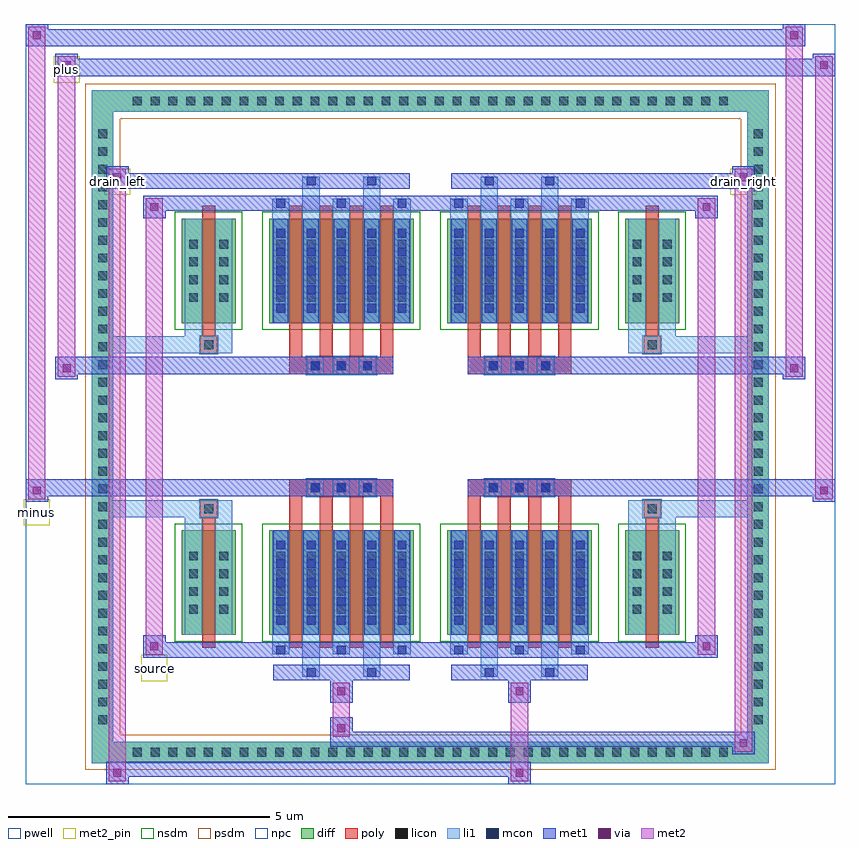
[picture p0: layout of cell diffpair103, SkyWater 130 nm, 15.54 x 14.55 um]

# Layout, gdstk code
import gdstk
lib = gdstk.Library(unit=1e-6, precision=5e-09)
def R(c, l, rs):  # rectangles x0, y0, x1, y1
    for r in rs: c.add(gdstk.rectangle(r[:2], r[2:], *l))
def A(c, l, x, y, w, h, nx, ny, dx, dy):  # array of equal rectangles
    R(c, l, [(x+i*dx, y+j*dy, x+i*dx+w, y+j*dy+h) for i in range(nx) for j in range(ny)])
def P(c, l, *ps):  # polygons
    for p in ps: c.add(gdstk.Polygon(p, *l))
pwell = (64, 44)
diff = (65, 20)
poly = (66, 20)
licon = (66, 44)
li1 = (67, 20)
mcon = (67, 44)
met1 = (68, 20)
via = (68, 44)
met2_pin = (69, 16)
met2 = (69, 20)
nsdm = (93, 44)
psdm = (94, 20)
npc = (95, 20)

diffpair103 = lib.new_cell('diffpair103')
R(diffpair103, pwell, [(-7.75,-6.84,7.75,7.71), (-5.07,-5.03,-0.01,-0.805), (0.01,-5.03,5.07,-0.805), (-5.07,0.805,-0.01,5.03), (0.01,0.805,5.07,5.03)])
A(diffpair103, diff, -5.815, -6.44, 0.41, 0.41, 34, 2, 0.34, 12.47)
A(diffpair103, diff, -6.48, -5.815, 0.41, 0.41, 1, 34, 0, 0.34)
A(diffpair103, diff, 6.07, -5.815, 0.41, 0.41, 1, 34, 0, 0.34)
R(diffpair103, diff, [(-5.815,-6.44,5.815,-6.03), (-6.48,-5.815,-6.07,5.815), (6.07,-5.815,6.48,5.815), (-4.76,-3.985,-3.73,-1.985), (-3.09,-3.985,-0.32,-1.985), (0.32,-3.985,3.09,-1.985), (3.73,-3.985,4.76,-1.985), (-4.76,1.985,-3.73,3.985), (-3.09,1.985,-0.32,3.985), (0.32,1.985,3.09,3.985), (3.73,1.985,4.76,3.985), (-5.815,6.03,5.815,6.44)])
P(diffpair103, diff, [(6.48,6.44),(-6.48,6.44),(-6.48,-6.03),(-6.07,-6.03),(-6.07,6.03),(6.07,6.03),(6.07,-6.03),(-6.07,-6.03),(-6.48,-6.03),(-6.48,-6.44),(6.48,-6.44)])
A(diffpair103, poly, -2.7, -4.235, 0.25, 2.5, 4, 2, 0.58, 5.97)
A(diffpair103, poly, 0.71, -4.235, 0.25, 2.5, 4, 2, 0.58, 5.97)
A(diffpair103, poly, -2.7, -1.735, 0.25, 0.4, 4, 2, 0.58, 3.07)
A(diffpair103, poly, 0.71, -1.735, 0.25, 0.4, 4, 2, 0.58, 3.07)
A(diffpair103, poly, -2.37, -1.335, 0.33, 0.33, 3, 2, 0.5, 2.34)
A(diffpair103, poly, 1.04, -1.335, 0.33, 0.33, 3, 2, 0.5, 2.34)
R(diffpair103, poly, [(-4.37,-4.235,-4.12,-1.735), (4.12,-4.235,4.37,-1.735), (-4.41,-1.735,-4.08,-1.405), (-4.41,-1.735,-4.08,-1.405), (4.08,-1.735,4.41,-1.405), (4.08,-1.735,4.41,-1.405), (-2.7,-1.335,-0.71,-1.005), (0.71,-1.335,2.7,-1.005), (-2.7,1.005,-0.71,1.335), (0.71,1.005,2.7,1.335), (-4.41,1.405,-4.08,1.735), (-4.41,1.405,-4.08,1.735), (4.08,1.405,4.41,1.735), (4.08,1.405,4.41,1.735), (-4.37,1.735,-4.12,4.235), (4.12,1.735,4.37,4.235)])
A(diffpair103, licon, -5.695, -6.32, 0.17, 0.17, 34, 2, 0.34, 12.47)
A(diffpair103, licon, -6.36, -5.695, 0.17, 0.17, 1, 34, 0, 0.34)
A(diffpair103, licon, 6.19, -5.695, 0.17, 0.17, 1, 34, 0, 0.34)
A(diffpair103, licon, -4.62, -3.58, 0.17, 0.17, 1, 4, 0, 0.34)
A(diffpair103, licon, -4.04, -3.58, 0.17, 0.17, 1, 4, 0, 0.34)
A(diffpair103, licon, -2.95, -3.58, 0.17, 0.17, 5, 4, 0.58, 0.34)
A(diffpair103, licon, 0.46, -3.58, 0.17, 0.17, 5, 4, 0.58, 0.34)
A(diffpair103, licon, 3.87, -3.58, 0.17, 0.17, 1, 4, 0, 0.34)
A(diffpair103, licon, 4.45, -3.58, 0.17, 0.17, 1, 4, 0, 0.34)
A(diffpair103, licon, -2.29, -1.255, 0.17, 0.17, 3, 2, 0.5, 2.34)
A(diffpair103, licon, 1.12, -1.255, 0.17, 0.17, 3, 2, 0.5, 2.34)
A(diffpair103, licon, -4.62, 2.39, 0.17, 0.17, 1, 4, 0, 0.34)
A(diffpair103, licon, -4.04, 2.39, 0.17, 0.17, 1, 4, 0, 0.34)
A(diffpair103, licon, -2.95, 2.39, 0.17, 0.17, 5, 4, 0.58, 0.34)
A(diffpair103, licon, 0.46, 2.39, 0.17, 0.17, 5, 4, 0.58, 0.34)
A(diffpair103, licon, 3.87, 2.39, 0.17, 0.17, 1, 4, 0, 0.34)
A(diffpair103, licon, 4.45, 2.39, 0.17, 0.17, 1, 4, 0, 0.34)
R(diffpair103, licon, [(-4.33,-1.655,-4.16,-1.485), (4.16,-1.655,4.33,-1.485), (-4.33,1.485,-4.16,1.655), (4.16,1.485,4.33,1.655)])
A(diffpair103, li1, -5.775, -6.4, 0.33, 0.33, 34, 2, 0.34, 12.47)
A(diffpair103, li1, -6.44, -5.775, 0.33, 0.33, 1, 34, 0, 0.34)
A(diffpair103, li1, 6.11, -5.775, 0.33, 0.33, 1, 34, 0, 0.34)
A(diffpair103, li1, -3.03, -4.36, 0.33, 0.375, 3, 2, 1.16, 8.345)
A(diffpair103, li1, -2.95, -4.36, 0.17, 0.17, 3, 2, 1.16, 8.55)
A(diffpair103, li1, 0.38, -4.36, 0.33, 0.375, 3, 2, 1.16, 8.345)
A(diffpair103, li1, 0.46, -4.36, 0.17, 0.17, 3, 2, 1.16, 8.55)
A(diffpair103, li1, -3.03, -3.985, 0.33, 2, 5, 2, 0.58, 5.97)
A(diffpair103, li1, 0.38, -3.985, 0.33, 2, 5, 2, 0.58, 5.97)
A(diffpair103, li1, -2.95, -3.79, 0.17, 0.17, 5, 5, 0.58, 0.36)
A(diffpair103, li1, -2.95, -3.79, 0.17, 1.61, 5, 2, 0.58, 5.97)
A(diffpair103, li1, 0.46, -3.79, 0.17, 0.17, 5, 5, 0.58, 0.36)
A(diffpair103, li1, 0.46, -3.79, 0.17, 1.61, 5, 2, 0.58, 5.97)
A(diffpair103, li1, -4.7, -3.66, 0.33, 0.33, 1, 4, 0, 0.34)
A(diffpair103, li1, -4.12, -3.66, 0.33, 0.33, 1, 4, 0, 0.34)
A(diffpair103, li1, -3.03, -3.66, 0.33, 0.33, 5, 4, 0.58, 0.34)
A(diffpair103, li1, 0.38, -3.66, 0.33, 0.33, 5, 4, 0.58, 0.34)
A(diffpair103, li1, 3.79, -3.66, 0.33, 0.33, 1, 4, 0, 0.34)
A(diffpair103, li1, 4.37, -3.66, 0.33, 0.33, 1, 4, 0, 0.34)
A(diffpair103, li1, -2.37, -1.335, 0.33, 0.33, 3, 2, 0.5, 2.34)
A(diffpair103, li1, 1.04, -1.335, 0.33, 0.33, 3, 2, 0.5, 2.34)
A(diffpair103, li1, -2.95, 2.18, 0.17, 0.17, 5, 5, 0.58, 0.36)
A(diffpair103, li1, 0.46, 2.18, 0.17, 0.17, 5, 5, 0.58, 0.36)
A(diffpair103, li1, -4.7, 2.31, 0.33, 0.33, 1, 4, 0, 0.34)
A(diffpair103, li1, -4.12, 2.31, 0.33, 0.33, 1, 4, 0, 0.34)
A(diffpair103, li1, -3.03, 2.31, 0.33, 0.33, 5, 4, 0.58, 0.34)
A(diffpair103, li1, 0.38, 2.31, 0.33, 0.33, 5, 4, 0.58, 0.34)
A(diffpair103, li1, 3.79, 2.31, 0.33, 0.33, 1, 4, 0, 0.34)
A(diffpair103, li1, 4.37, 2.31, 0.33, 0.33, 1, 4, 0, 0.34)
R(diffpair103, li1, [(-6.48,-6.44,-6.07,-6.03), (-6.48,-6.44,-6.07,-6.03), (-6.07,-6.44,6.07,-6.03), (6.07,-6.44,6.48,-6.03), (6.07,-6.44,6.48,-6.03), (-6.48,-6.03,-6.07,6.03), (6.07,-6.03,6.48,6.03), (-2.45,-4.79,-2.12,-3.985), (-2.37,-4.79,-2.2,-4.62), (-1.29,-4.79,-0.96,-3.985), (-1.21,-4.79,-1.04,-4.62), (0.96,-4.79,1.29,-3.985), (1.04,-4.79,1.21,-4.62), (2.12,-4.79,2.45,-3.985), (2.2,-4.79,2.37,-4.62), (-4.7,-3.985,-4.37,-1.985), (-4.12,-3.985,-3.79,-1.985), (3.79,-3.985,4.12,-1.985), (4.37,-3.985,4.7,-1.985), (-4.7,-1.985,-4.37,-1.405), (-4.12,-1.985,-3.79,-1.405), (3.79,-1.985,4.12,-1.405), (4.37,-1.985,4.7,-1.405), (-6.48,-1.735,-4.41,-1.405), (-4.7,-1.735,-4.41,-1.405), (-4.41,-1.735,-4.08,-1.405), (-4.08,-1.735,-3.79,-1.405), (3.79,-1.735,4.08,-1.405), (4.08,-1.735,4.41,-1.405), (4.08,-1.735,6.48,-1.405), (4.41,-1.735,4.7,-1.405), (-6.48,1.405,-4.41,1.735), (-4.7,1.405,-4.41,1.735), (-4.7,1.405,-4.37,1.985), (-4.41,1.405,-4.08,1.735), (-4.12,1.405,-3.79,1.985), (-4.08,1.405,-3.79,1.735), (3.79,1.405,4.08,1.735), (3.79,1.405,4.12,1.985), (4.08,1.405,4.41,1.735), (4.08,1.405,6.48,1.735), (4.37,1.405,4.7,1.985), (4.41,1.405,4.7,1.735), (-4.7,1.985,-4.37,3.985), (-4.12,1.985,-3.79,3.985), (3.79,1.985,4.12,3.985), (4.37,1.985,4.7,3.985), (-2.45,3.985,-2.12,4.79), (-1.29,3.985,-0.96,4.79), (0.96,3.985,1.29,4.79), (2.12,3.985,2.45,4.79), (-2.37,4.62,-2.2,4.79), (-1.21,4.62,-1.04,4.79), (1.04,4.62,1.21,4.79), (2.2,4.62,2.37,4.79), (-6.48,6.03,-6.07,6.44), (-6.48,6.03,-6.07,6.44), (-6.07,6.03,6.07,6.44), (6.07,6.03,6.48,6.44), (6.07,6.03,6.48,6.44)])
A(diffpair103, mcon, -2.95, -4.36, 0.17, 0.17, 3, 2, 1.16, 8.55)
A(diffpair103, mcon, 0.46, -4.36, 0.17, 0.17, 3, 2, 1.16, 8.55)
A(diffpair103, mcon, -2.95, -3.79, 0.17, 0.17, 5, 5, 0.58, 0.36)
A(diffpair103, mcon, 0.46, -3.79, 0.17, 0.17, 5, 5, 0.58, 0.36)
A(diffpair103, mcon, -2.29, -1.255, 0.17, 0.17, 3, 2, 0.5, 2.34)
A(diffpair103, mcon, 1.12, -1.255, 0.17, 0.17, 3, 2, 0.5, 2.34)
A(diffpair103, mcon, -2.95, 2.18, 0.17, 0.17, 5, 5, 0.58, 0.36)
A(diffpair103, mcon, 0.46, 2.18, 0.17, 0.17, 5, 5, 0.58, 0.36)
R(diffpair103, mcon, [(-2.37,-4.79,-2.2,-4.62), (-1.21,-4.79,-1.04,-4.62), (1.04,-4.79,1.21,-4.62), (2.2,-4.79,2.37,-4.62), (-2.37,4.62,-2.2,4.79), (-1.21,4.62,-1.04,4.79), (1.04,4.62,1.21,4.79), (2.2,4.62,2.37,4.79)])
A(diffpair103, met1, -3.01, -4.42, 0.29, 0.29, 3, 2, 1.16, 8.55)
A(diffpair103, met1, 0.4, -4.42, 0.29, 0.29, 3, 2, 1.16, 8.55)
A(diffpair103, met1, -3.01, -3.985, 0.29, 2, 5, 2, 0.58, 5.97)
A(diffpair103, met1, 0.4, -3.985, 0.29, 2, 5, 2, 0.58, 5.97)
A(diffpair103, met1, -3.01, -3.85, 0.29, 0.29, 5, 5, 0.58, 0.36)
A(diffpair103, met1, 0.4, -3.85, 0.29, 0.29, 5, 5, 0.58, 0.36)
A(diffpair103, met1, -2.35, -1.315, 0.29, 0.29, 3, 2, 0.5, 2.34)
A(diffpair103, met1, 1.06, -1.315, 0.29, 0.29, 3, 2, 0.5, 2.34)
A(diffpair103, met1, -3.01, 2.12, 0.29, 0.29, 5, 5, 0.58, 0.36)
A(diffpair103, met1, 0.4, 2.12, 0.29, 0.29, 5, 5, 0.58, 0.36)
R(diffpair103, met1, [(-6.21,-6.84,-5.78,-6.41), (1.49,-6.84,1.92,-6.41), (-6.21,-6.7,1.92,-6.41), (5.78,-6.27,6.21,-5.84), (-1.92,-6.13,6.21,-5.84), (-1.92,-5.99,-1.49,-5.56), (-1.92,-5.28,-1.49,-4.85), (1.49,-5.28,1.92,-4.85), (-3.01,-4.85,-0.4,-4.56), (-2.43,-4.85,-2.14,-4.56), (-1.27,-4.85,-0.98,-4.56), (0.4,-4.85,3.01,-4.56), (0.98,-4.85,1.27,-4.56), (2.14,-4.85,2.43,-4.56), (-5.5,-4.42,-5.07,-3.99), (-5.5,-4.42,-3.01,-4.13), (-3.01,-4.42,-0.4,-4.13), (-0.4,-4.42,0.4,-4.13), (0.4,-4.42,3.01,-4.13), (3.01,-4.42,5.5,-4.13), (5.07,-4.42,5.5,-3.99), (-7.75,-1.435,-7.32,-1.005), (7.32,-1.435,7.75,-1.005), (-7.75,-1.335,-0.71,-1.005), (-2.7,-1.335,-0.71,-1.005), (0.71,-1.335,2.7,-1.005), (0.71,-1.335,7.75,-1.005), (-7.18,0.905,-6.75,1.335), (6.75,0.905,7.18,1.335), (-7.18,1.005,-2.7,1.335), (-2.7,1.005,-0.71,1.335), (0.71,1.005,2.7,1.335), (2.7,1.005,7.18,1.335), (-5.5,3.99,-5.07,4.42), (5.07,3.99,5.5,4.42), (-5.5,4.13,-3.01,4.42), (-3.01,4.13,-0.4,4.42), (-0.4,4.13,0.4,4.42), (0.4,4.13,3.01,4.42), (3.01,4.13,5.5,4.42), (-6.21,4.56,-5.78,4.99), (-6.21,4.56,-3.01,4.85), (-3.01,4.56,-0.4,4.85), (-2.43,4.56,-2.14,4.85), (-1.27,4.56,-0.98,4.85), (0.4,4.56,3.01,4.85), (0.98,4.56,1.27,4.85), (2.14,4.56,2.43,4.85), (3.01,4.56,6.21,4.85), (5.78,4.56,6.21,4.99), (-7.18,6.71,-6.75,7.14), (-7.18,6.71,-5.07,7.04), (-5.07,6.71,5.07,7.04), (5.07,6.71,7.75,7.04), (7.32,6.71,7.75,7.14), (-7.75,7.28,-7.32,7.71), (-7.75,7.28,-5.07,7.61), (-5.07,7.28,5.07,7.61), (5.07,7.28,7.18,7.61), (6.75,7.28,7.18,7.71)])
R(diffpair103, via, [(-6.07,-6.7,-5.92,-6.55), (1.63,-6.7,1.78,-6.55), (5.92,-6.13,6.07,-5.98), (-1.78,-5.85,-1.63,-5.7), (-1.78,-5.14,-1.63,-4.99), (1.63,-5.14,1.78,-4.99), (-5.36,-4.28,-5.21,-4.13), (5.21,-4.28,5.36,-4.13), (-7.61,-1.295,-7.46,-1.145), (7.46,-1.295,7.61,-1.145), (-7.04,1.045,-6.89,1.195), (6.89,1.045,7.04,1.195), (-5.36,4.13,-5.21,4.28), (5.21,4.13,5.36,4.28), (-6.07,4.7,-5.92,4.85), (5.92,4.7,6.07,4.85), (-7.04,6.85,-6.89,7), (7.46,6.85,7.61,7), (-7.61,7.42,-7.46,7.57), (6.89,7.42,7.04,7.57)])
R(diffpair103, met2_pin, [(-5.535,-4.87,-5.035,-4.37), (-7.785,-1.885,-7.285,-1.385), (-6.245,4.44,-5.745,4.94), (5.745,4.44,6.245,4.94), (-7.215,6.59,-6.715,7.09)])
R(diffpair103, met2, [(-6.16,-6.79,-5.83,-6.46), (-6.16,-6.79,-5.83,4.94), (1.54,-6.79,1.87,-6.46), (1.54,-6.46,1.87,-5.23), (5.83,-6.22,6.16,-5.89), (5.83,-6.22,6.16,4.94), (-1.87,-5.94,-1.54,-5.61), (-1.87,-5.61,-1.54,-5.23), (-1.87,-5.23,-1.54,-4.9), (1.54,-5.23,1.87,-4.9), (-5.45,-4.37,-5.12,-4.04), (-5.45,-4.37,-5.12,4.37), (5.12,-4.37,5.45,-4.04), (5.12,-4.37,5.45,4.37), (-7.7,-1.385,-7.37,-1.055), (-7.7,-1.385,-7.37,7.66), (7.37,-1.385,7.7,-1.055), (7.37,-1.385,7.7,7.09), (-7.13,0.955,-6.8,1.285), (-7.13,0.955,-6.8,7.09), (6.8,0.955,7.13,1.285), (6.8,0.955,7.13,7.66), (-5.45,4.04,-5.12,4.37), (5.12,4.04,5.45,4.37), (-6.16,4.61,-5.83,4.94), (5.83,4.61,6.16,4.94), (-7.13,6.76,-6.8,7.09), (7.37,6.76,7.7,7.09), (-7.7,7.33,-7.37,7.66), (6.8,7.33,7.13,7.66)])
P(diffpair103, met2, [(7.7,-1.385),(7.7,-1.385),(7.7,-1.055),(7.7,-1.055)],
  [(7.7,6.76),(7.7,6.76),(7.7,7.09),(7.7,7.09)],
  [(-7.37,-1.385),(-7.37,-1.385),(-7.37,-1.055),(-7.37,-1.055)],
  [(-7.37,7.33),(-7.37,7.33),(-7.37,7.66),(-7.37,7.66)],
  [(7.13,0.955),(7.13,0.955),(7.13,1.285),(7.13,1.285)],
  [(7.13,7.33),(7.13,7.33),(7.13,7.66),(7.13,7.66)],
  [(-6.8,0.955),(-6.8,0.955),(-6.8,1.285),(-6.8,1.285)],
  [(-6.8,6.76),(-6.8,6.76),(-6.8,7.09),(-6.8,7.09)],
  [(-5.83,-6.79),(-5.83,-6.79),(-5.83,-6.46),(-5.83,-6.46)],
  [(-5.83,4.61),(-5.83,4.61),(-5.83,4.94),(-5.83,4.94)],
  [(6.16,-6.22),(6.16,-6.22),(6.16,-5.89),(6.16,-5.89)],
  [(6.16,4.61),(6.16,4.61),(6.16,4.94),(6.16,4.94)],
  [(-5.12,-4.37),(-5.12,-4.37),(-5.12,-4.04),(-5.12,-4.04)],
  [(-5.12,4.04),(-5.12,4.04),(-5.12,4.37),(-5.12,4.37)],
  [(5.45,-4.37),(5.45,-4.37),(5.45,-4.04),(5.45,-4.04)],
  [(5.45,4.04),(5.45,4.04),(5.45,4.37),(5.45,4.37)])
R(diffpair103, nsdm, [(-4.89,-4.115,-3.6,-1.855), (-3.22,-4.115,-0.19,-1.855), (0.19,-4.115,3.22,-1.855), (3.6,-4.115,4.89,-1.855), (-4.89,1.855,-3.6,4.115), (-3.22,1.855,-0.19,4.115), (0.19,1.855,3.22,4.115), (3.6,1.855,4.89,4.115)])
P(diffpair103, psdm, [(6.61,6.57),(-6.61,6.57),(-6.61,-5.9),(-5.94,-5.9),(-5.94,5.9),(5.94,5.9),(5.94,-5.9),(-5.94,-5.9),(-6.61,-5.9),(-6.61,-6.57),(6.61,-6.57)])
A(diffpair103, npc, -2.39, -1.355, 0.37, 0.37, 3, 2, 0.5, 2.34)
A(diffpair103, npc, 1.02, -1.355, 0.37, 0.37, 3, 2, 0.5, 2.34)
R(diffpair103, npc, [(-4.43,-1.755,-4.06,-1.385), (4.06,-1.755,4.43,-1.385), (-2.39,-1.355,-1.52,-0.985), (-2.39,-1.355,-1.52,-0.985), (-1.89,-1.355,-1.02,-0.985), (-1.89,-1.355,-1.02,-0.985), (1.02,-1.355,1.89,-0.985), (1.02,-1.355,1.89,-0.985), (1.52,-1.355,2.39,-0.985), (1.52,-1.355,2.39,-0.985), (-2.39,0.985,-1.52,1.355), (-2.39,0.985,-1.52,1.355), (-1.89,0.985,-1.02,1.355), (-1.89,0.985,-1.02,1.355), (1.02,0.985,1.89,1.355), (1.02,0.985,1.89,1.355), (1.52,0.985,2.39,1.355), (1.52,0.985,2.39,1.355), (-4.43,1.385,-4.06,1.755), (4.06,1.385,4.43,1.755)])
diffpair103.add(gdstk.Label('minus', (-7.535,-1.635), layer=69, texttype=5))
diffpair103.add(gdstk.Label('drain_right', (5.995,4.69), layer=69, texttype=5))
diffpair103.add(gdstk.Label('drain_left', (-5.995,4.69), layer=69, texttype=5))
diffpair103.add(gdstk.Label('source', (-5.285,-4.62), layer=69, texttype=5))
diffpair103.add(gdstk.Label('plus', (-6.965,6.84), layer=69, texttype=5))

lib.write_gds('diffpair103.gds')
